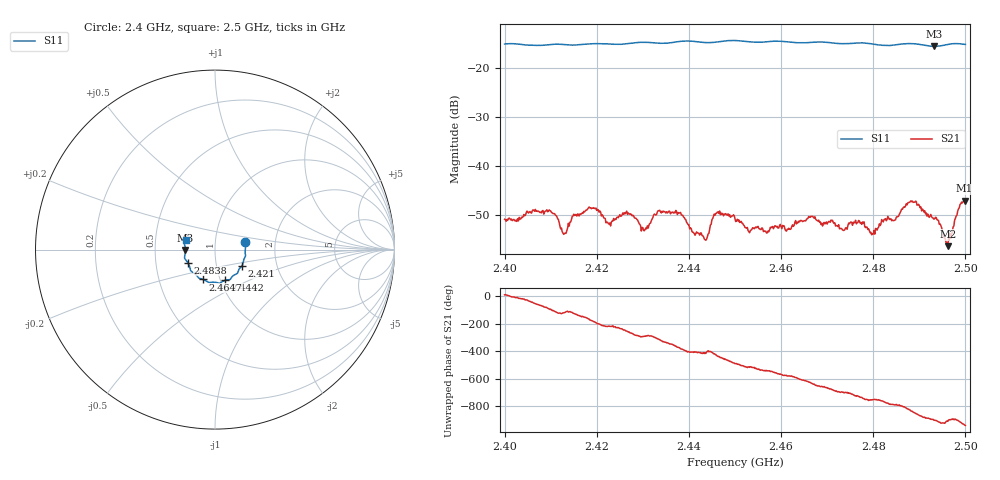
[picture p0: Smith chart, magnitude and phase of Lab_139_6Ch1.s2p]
# Hz S RI R 50
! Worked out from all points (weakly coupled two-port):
!   601 points, 2.4 GHz to 2.5 GHz, reference 50 ohm
!   highest |S21| = -47.07 dB at 2.4998 GHz (marker M1); lowest = -56.4 dB at 2.4962 GHz (marker M2)
!   lowest |S11| = -15.7 dB at 2.4932 GHz (marker M3), VSWR 1.39, Z = 35.8 - j0.113 ohm
!   |S11| at or under -10 dB: start of sweep to end of sweep
!   S12 and S22 are empty: the file has one direction only
!   S11 on the Smith chart (normalised r, x): 2.4 GHz: 1.40, +0.12; 2.421 GHz: 1.33, -0.24; 2.4442 GHz: 1.05, -0.37; 2.4647 GHz: 0.83, -0.28; 2.4838 GHz: 0.73, -0.11; 2.5 GHz: 0.71, +0.08
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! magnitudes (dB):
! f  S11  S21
! 2.4 GHz  -15.2  -50.9
! 2.4095 GHz  -15.3  -49.2
! 2.413 GHz  -15.3  -53.8
! 2.4167 GHz  -15.3  -49.8
! 2.421 GHz  -15.1  -50.2
! 2.4268 GHz  -15.1  -49.6
! 2.4302 GHz  -14.8  -53.2
! 2.4333 GHz  -15.0  -49.1
! 2.4442 GHz  -14.9  -53.9
! 2.4458 GHz  -14.8  -49.7
! 2.45 GHz  -14.5  -50.8
! 2.4567 GHz  -14.7  -53.3
! 2.4647 GHz  -14.9  -51.4
! 2.4667 GHz  -14.8  -50.3
! 2.4798 GHz  -15.2  -53.9
! 2.4833 GHz  -15.5  -50.6
! 2.4838 GHz  -15.5  -50.8
! 2.4887 GHz  -15.1  -47.4
! 2.4932 GHz  -15.7  -50.9
! 2.4962 GHz  -15.3  -56.4
! 2.4998 GHz  -15.2  -47.1
! 2.5 GHz  -15.3  -47.4
